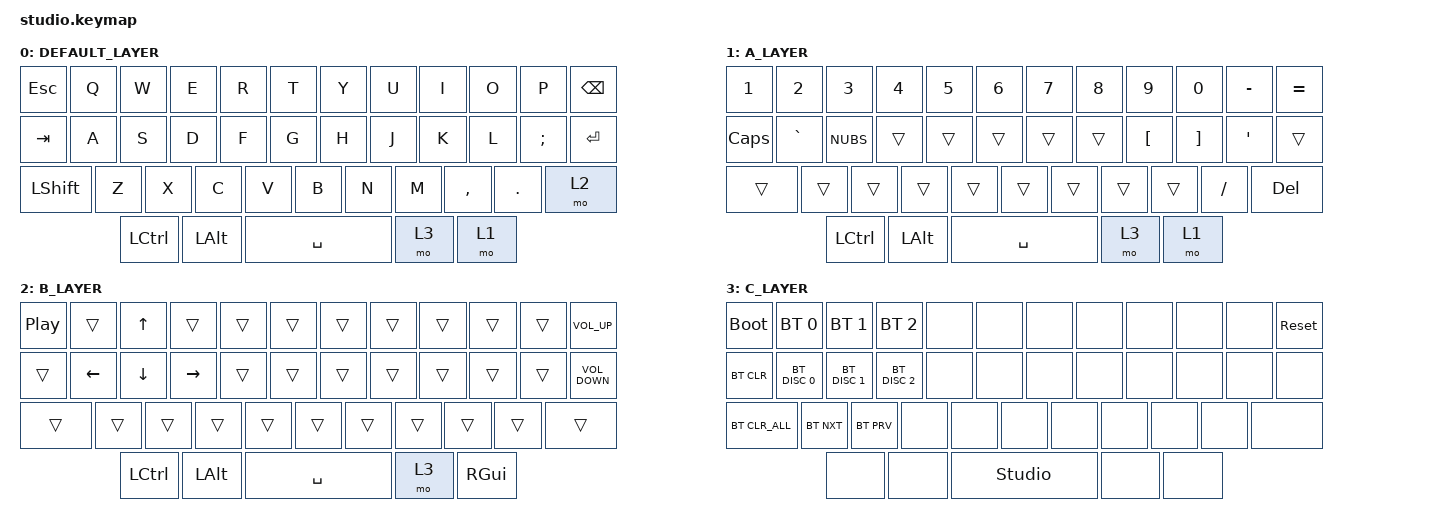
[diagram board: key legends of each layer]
#include <behaviors.dtsi>
#include <dt-bindings/zmk/bt.h>
#include <dt-bindings/zmk/keys.h>

#define DEFAULT_LAYER   0
#define A_LAYER   1
#define B_LAYER   2
#define C_LAYER   3

/ {
    keymap {
        compatible = "zmk,keymap";

        DEFAULT_LAYER {
            bindings = <
&kp ESC     &kp Q     &kp W     &kp E     &kp R     &kp T     &kp Y     &kp U     &kp I     &kp O     &kp P             &kp BACKSPACE
&kp TAB     &kp A     &kp S     &kp D     &kp F     &kp G     &kp H     &kp J     &kp K     &kp L     &kp SEMICOLON     &kp RET
&kp LSHIFT     &kp Z     &kp X     &kp C     &kp V     &kp B     &kp N     &kp M     &kp COMMA     &kp PERIOD     &mo 2
                   &kp LCTRL     &kp LALT                &kp SPACE               &mo 3     &mo 1
            >;
        };

        A_LAYER {
            bindings = <
&kp N1     &kp N2     &kp N3     &kp N4     &kp N5     &kp N6     &kp N7     &kp N8     &kp N9     &kp N0     &kp MINUS          &kp EQUAL
&kp CAPS   &kp GRAVE  &kp NUBS   &trans     &trans     &trans     &trans     &trans     &kp LEFT_BRACKET      &kp RIGHT_BRACKET  &kp SINGLE_QUOTE  &trans
&trans        &trans     &trans     &trans     &trans     &trans     &trans     &trans     &trans     &kp SLASH     &kp DELETE
                   &kp LCTRL     &kp LALT               &kp SPACE                 &mo 3     &mo 1
            >;
        };

        B_LAYER {
            bindings = <
&kp C_PLAY_PAUSE     &trans     &kp UP_ARROW     &trans     &trans     &trans     &trans     &trans     &trans     &trans     &trans     &kp C_VOLUME_UP
&trans     &kp LEFT_ARROW     &kp DOWN_ARROW     &kp RIGHT_ARROW       &trans     &trans     &trans     &trans     &trans     &trans     &trans     &kp C_VOLUME_DOWN
&trans        &trans     &trans     &trans     &trans     &trans     &trans     &trans     &trans     &trans     &trans
                   &kp LCTRL     &kp LALT               &kp SPACE                 &mo 3     &kp RIGHT_GUI
            >;
        };

        C_LAYER {
            bindings = <
&bootloader     &bt BT_SEL 0     &bt BT_SEL 1     &bt BT_SEL 2     &none     &none     &none     &none     &none     &none     &none     &sys_reset
&bt BT_CLR      &bt BT_DISC 0    &bt BT_DISC 1    &bt BT_DISC 2    &none     &none     &none     &none     &none     &none     &none     &none
&bt BT_CLR_ALL  &bt BT_NXT       &bt BT_PRV       &none     &none     &none     &none     &none     &none     &none     &none
                   &none         &none                  &studio_unlock                     &none      &none
            >;
        };
        
        extra_layer_4 {
            status = "reserved";
        };
    };
};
